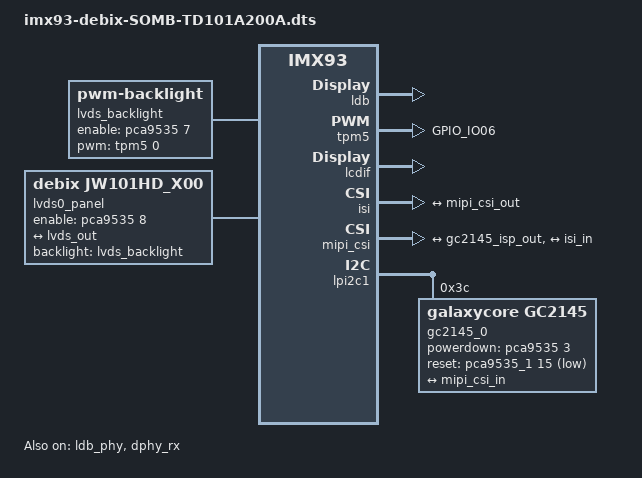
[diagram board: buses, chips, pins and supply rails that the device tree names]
// SPDX-License-Identifier: (GPL-2.0+ OR MIT)
/*
 * Copyright 2022 NXP
 */

#if 0
#include "imx93-11x11-evk.dts"
#else
#include "imx93-debix-SOMB.dts"
#endif
/ {

	lvds_backlight: lvds_backlight {
		compatible = "pwm-backlight";
		pwms = <&tpm5 0 100000 0>;
		status = "okay";
		//pinctrl-0 = <&pinctrl_pwm_en>;
		enable-gpios = <&pca9535 7 GPIO_ACTIVE_HIGH>;

		brightness-levels = < 0  1  2  3  4  5  6  7  8  9
				     10 11 12 13 14 15 16 17 18 19
				     20 21 22 23 24 25 26 27 28 29
				     30 31 32 33 34 35 36 37 38 39
				     40 41 42 43 44 45 46 47 48 49
				     50 51 52 53 54 55 56 57 58 59
				     60 61 62 63 64 65 66 67 68 69
				     70 71 72 73 74 75 76 77 78 79
				     80 81 82 83 84 85 86 87 88 89
				     90 91 92 93 94 95 96 97 98 99
				    100>;
		default-brightness-level = <80>;
	};

	lvds0_panel {
		compatible = "debix,JW101HD_X00";
		//compatible = "boe,ev121wxm-n10-1850";
		pinctrl-names = "default";
		//pinctrl-0 = <&pinctrl_lvds_en>;
		enable-gpios = <&pca9535 8 GPIO_ACTIVE_HIGH>;
		
		backlight = <&lvds_backlight>;

		port {
			panel_lvds_in: endpoint {
				remote-endpoint = <&lvds_out>;
			};
		};
	};
};

&ldb {
	status = "okay";

	lvds-channel@0 {
		//fsl,data-mapping = "jeida";
		fsl,data-mapping = "spwg";
		fsl,data-width = <24>;
		status = "okay";

		port@1 {
			reg = <1>;

			lvds_out: endpoint {
				remote-endpoint = <&panel_lvds_in>;
			};
		};
	};
};


&tpm5 {
	pinctrl-names = "default";
	pinctrl-0 = <&pinctrl_pwm5>;
	status = "okay";
};

&ldb_phy {
	status = "okay";
};


&dphy {
	status = "disabled";
};

&dsi {
	status = "disabled";
};

&lcdif {
	status = "okay";
	assigned-clock-rates = <498000000>, <71142857>, <400000000>, <133333333>;
};


// &cameradev {
// 	status = "okay";
// };

// &isi_0 {
// 	status = "okay";

// 	cap_device {
// 		status = "okay";
// 	};
// };

&dphy_rx {
	status = "okay";
};

&isi{

	status = "okay";
		port {
		isi_in: endpoint {
			remote-endpoint = <&mipi_csi_out>;
		};
	};

};


&mipi_csi {
	status = "okay";

		ports {
		#address-cells = <1>;
		#size-cells = <0>;

		port@0 {
			reg = <0>;

			mipi_csi_in: endpoint {
				remote-endpoint = <&gc2145_isp_out>;
			#if 1
				data-lanes = <1 2>;
			#else
				data-lanes = <1>;
			#endif
				// clock-lanes = <0>;
			#if 1
				cfg-clk-range = <28>; /*24MHz = 28*/
				hs-clk-range = <0x16>;  
				bus-type = <4>;
			#endif
			};
		};

		port@1 {
			reg = <1>;

			mipi_csi_out: endpoint {
				remote-endpoint = <&isi_in>;
			};
		};
	};

	// port@0 {
	// 	reg = <0>;
	// 	mipi_csi_ep: endpoint {
	// 		remote-endpoint = <&gc2145_mipi_ep>;
	// 		data-lanes = <1>;
	// 		cfg-clk-range = <28>;
	// 		hs-clk-range = <0x2B>;
	// 		bus-type = <1>;
			
	// 	};
	// };
};

&lpi2c1 {
	gc2145_0: gc2145_mipi@3c {
		compatible = "galaxycore,gc2145";
		reg = <0x3c>;
		pinctrl-names = "default";
		//pinctrl-0 = <&pinctrl_csi0_pwn>, <&pinctrl_csi0_rst>, <&pinctrl_csi0_mclk>;
		//pinctrl-0 = <&pinctrl_csi0_mclk>;
		clocks = <&clk IMX93_CLK_24M>;
		clock-names = "xclk";
		assigned-clocks = <&clk IMX93_CLK_CCM_CKO3>;
		assigned-clock-parents = <&clk IMX93_CLK_24M>;
		assigned-clock-rates = <24000000>;
		csi_id = <0>;
		powerdown-gpios = <&pca9535 3 GPIO_ACTIVE_HIGH>;
		reset-gpios = <&pca9535_1 15 GPIO_ACTIVE_LOW>;
		//mclk = <24000000>;
		//mclk_source = <0>;
		mipi_csi;
		status = "okay";



		port {
			#address-cells = <1>;
			#size-cells = <0>;

				gc2145_isp_out: endpoint {
					remote-endpoint = <&mipi_csi_in>;
					#if 1
						data-lanes = <1 2>;
					#else
						data-lanes = <1>;
					#endif
						clock-lanes = <0>;
					link-frequencies = /bits/ 64 <120000000 192000000 240000000>;
				};

		// port {
		// 		gc2145_mipi_ep: endpoint {
		// 				remote-endpoint = <&mipi_csi_ep>;
		// 				data-lanes = <1 2>;
		// 				clock-lanes = <0>;
		// 				// link-frequencies = /bits/ 64 <240000000>;
		// 				link-frequencies = /bits/ 64 <120000000 192000000 240000000>;
		// 		};
        //     };
        // };
};

	};
};

&iomuxc {
	pinctrl_pwm5: pwm5grp {
		fsl,pins = <
			MX93_PAD_GPIO_IO06__TPM5_CH0	0x139e
		>;
	};
	#if 0
	pinctrl_csi0_mclk: csi0_mclk_grp {
                fsl,pins = <
			 //MX93_PAD_CCM_CLKO3__CCMSRCGPCMIX_CLKO3  0x31e
			 MX93_PAD_CCM_CLKO3__CCMSRCGPCMIX_CLKO3  0x1fe
                >;
        };
	#endif
};
